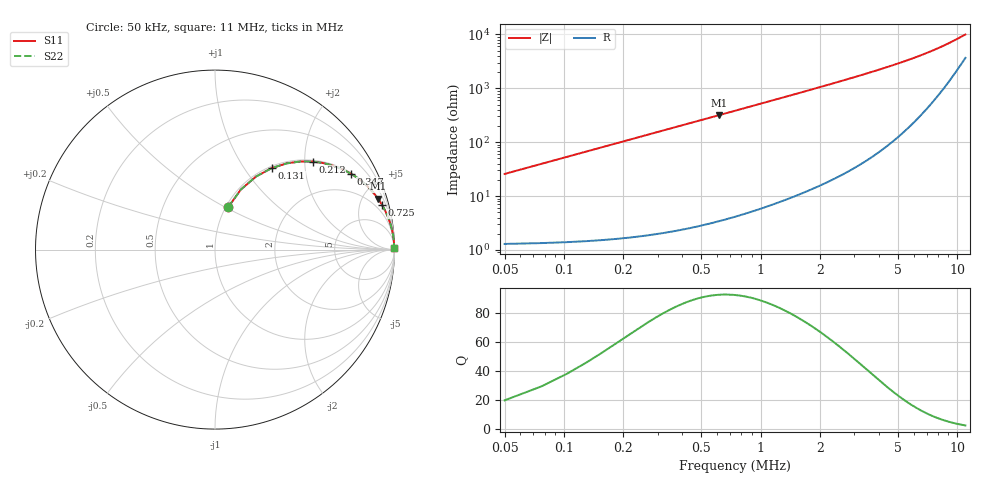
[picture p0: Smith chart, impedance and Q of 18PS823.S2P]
! Coilcraft 1812PS-823 Power Chip Inductor
! 1 October 2002
# MHZ S MA R 50
!Freq  MagS11  AngS11  MagS21  AngS21  MagS12  AngS12  MagS22  AngS22
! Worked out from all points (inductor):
!   407 points, 50 kHz to 11 MHz, reference 50 ohm
!   read as one part in series: L = 82 uH near 104 kHz
!   highest Q = 92.7 at 617 kHz (marker M1), where L = 82.1 uH
!   S11 on the Smith chart (normalised r, x): 50 kHz: 1.03, +0.52; 131 kHz: 1.03, +1.35; 212 kHz: 1.03, +2.18; 347 kHz: 1.04, +3.58; 725 kHz: 1.08, +7.49; 11 MHz: open
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0.05  0.2468 72.8  0.9567 -14.3  0.9567 -14.3  0.2468 72.8
0.077  0.3647 66.7  0.9188 -21.4  0.9188 -21.4  0.3647 66.7
0.104  0.4674 60.6  0.8719 -27.9  0.8719 -27.9  0.4674 60.6
0.131  0.554 55.1  0.8206 -33.6  0.8206 -33.6  0.554 55.1
0.158  0.6257 50.2  0.7684 -38.7  0.7684 -38.7  0.6257 50.2
0.212  0.7321 42.1  0.67 -47.1  0.67 -47.1  0.7321 42.1
0.266  0.8027 35.8  0.5855 -53.4  0.5855 -53.4  0.8027 35.8
0.347  0.8684 29.0  0.4854 -60.3  0.4854 -60.3  0.8684 29.0
0.455  0.9162 23.0  0.3905 -66.4  0.3905 -66.4  0.9162 23.0
0.617  0.9511 17.4  0.2987 -72.0  0.2987 -72.0  0.9511 17.4
0.725  0.9635 14.9  0.2573 -74.5  0.2573 -74.5  0.9635 14.9
0.941  0.9774 11.6  0.2008 -77.8  0.2008 -77.8  0.9774 11.6
1.211  0.9857 9.0  0.157 -80.3  0.157 -80.3  0.9857 9.0
1.535  0.9907 7.1  0.124 -82.1  0.124 -82.1  0.9907 7.1
1.886  0.9935 5.8  0.1006 -83.4  0.1006 -83.4  0.9935 5.8
2.696  0.9963 4.0  0.06943 -85.0  0.06943 -85.0  0.9963 4.0
3.722  0.9975 2.8  0.04887 -85.7  0.04887 -85.7  0.9975 2.8
4.559  0.9978 2.2  0.03866 -85.7  0.03866 -85.7  0.9978 2.2
5.531  0.9979 1.7  0.03045 -85.2  0.03045 -85.2  0.9979 1.7
7.367  0.9976 1.2  0.02042 -82.8  0.02042 -82.8  0.9976 1.2
9.176  0.9971 0.8  0.01418 -77.6  0.01418 -77.6  0.9971 0.8
11  0.9963 0.5  0.009988 -67.9  0.009988 -67.9  0.9963 0.5
